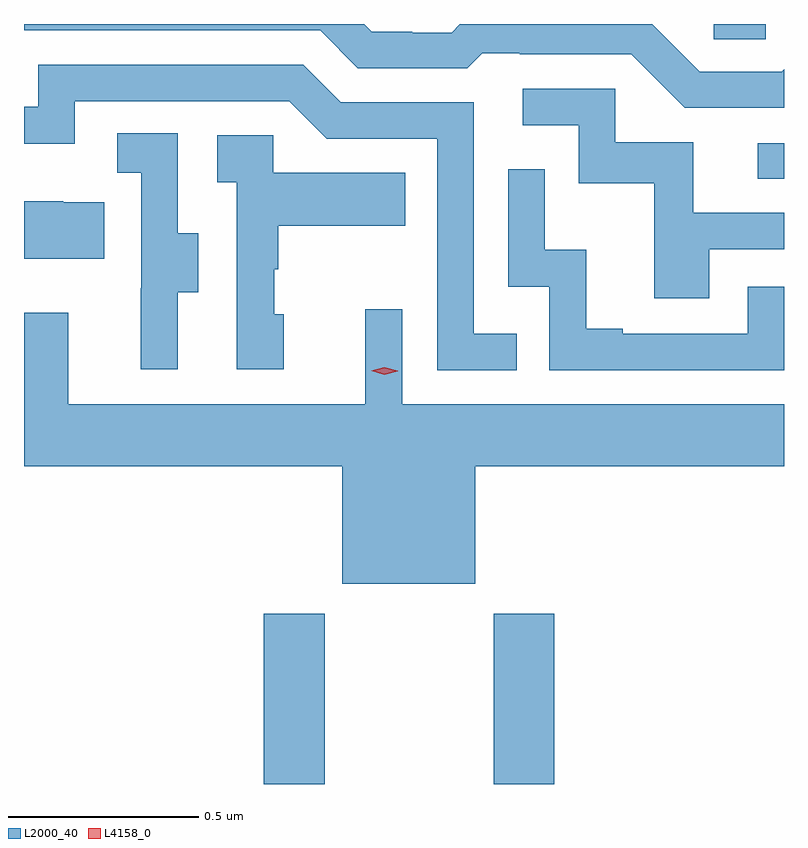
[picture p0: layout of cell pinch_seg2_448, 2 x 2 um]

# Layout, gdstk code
import gdstk
lib = gdstk.Library(unit=1e-6, precision=1e-09)
def R(c, l, rs):  # rectangles x0, y0, x1, y1
    for r in rs: c.add(gdstk.rectangle(r[:2], r[2:], *l))
def P(c, l, *ps):  # polygons
    for p in ps: c.add(gdstk.Polygon(p, *l))
L2000_40 = (2000, 40)
L4158_0 = (4158, 0)

pinch_seg2_448 = lib.new_cell('pinch_seg2_448')
R(pinch_seg2_448, L2000_40, [(909.077,613.5,909.237,613.948), (909.682,613.5,909.842,613.948), (910.377,615.093,910.446,615.186), (910.261,615.46,910.398,615.5)])
P(pinch_seg2_448, L2000_40, [(910.446,615.381),(910.44,615.375),(910.224,615.375),(910.099,615.5),(909.593,615.5),(909.571,615.477),(909.468,615.477),(909.468,615.48),(909.361,615.48),(909.341,615.5),(908.446,615.5),(908.446,615.483),(909.225,615.483),(909.324,615.384),(909.613,615.384),(909.652,615.423),(909.751,615.423),(909.751,615.42),(910.044,615.42),(910.185,615.279),(910.446,615.279)],
  [(909.743,614.685),(909.63,614.685),(909.63,615.294),(909.28,615.294),(909.181,615.393),(908.484,615.393),(908.484,615.282),(908.446,615.282),(908.446,615.185),(908.58,615.185),(908.58,615.297),(909.144,615.297),(909.243,615.198),(909.534,615.198),(909.534,614.589),(909.743,614.589)],
  [(910.249,614.907),(910.446,614.907),(910.446,615.003),(910.207,615.003),(910.207,615.189),(910.002,615.189),(910.002,615.33),(909.759,615.33),(909.759,615.234),(909.906,615.234),(909.906,615.081),(910.105,615.081),(910.105,614.778),(910.249,614.778)],
  [(908.851,614.794),(908.905,614.794),(908.905,614.949),(908.85,614.949),(908.85,615.212),(908.691,615.212),(908.691,615.109),(908.754,615.109),(908.754,614.805),(908.753,614.805),(908.753,614.592),(908.851,614.592)],
  [(909.13,614.736),(909.105,614.736),(909.105,614.855),(909.115,614.855),(909.115,614.969),(909.449,614.969),(909.449,615.109),(909.102,615.109),(909.102,615.207),(908.955,615.207),(908.955,615.083),(909.006,615.083),(909.006,614.592),(909.13,614.592)],
  [(910.446,614.808),(910.35,614.808),(910.35,614.685),(910.021,614.685),(910.021,614.698),(909.926,614.698),(909.926,614.906),(909.816,614.906),(909.816,615.118),(909.72,615.118),(909.72,614.808),(909.828,614.808),(909.828,614.589),(910.446,614.589)],
  [(908.657,615.031),(908.549,615.031),(908.549,615.034),(908.446,615.034),(908.446,614.882),(908.657,614.882)],
  [(909.634,614.336),(910.446,614.336),(910.446,614.5),(909.441,614.5),(909.441,614.749),(909.344,614.749),(909.344,614.5),(908.563,614.5),(908.563,614.74),(908.446,614.74),(908.446,614.336),(909.284,614.336),(909.284,614.027),(909.634,614.027)])
P(pinch_seg2_448, L4158_0, [(909.394,614.577),(909.36,614.587),(909.359,614.587),(909.36,614.587),(909.394,614.597),(909.429,614.587),(909.429,614.586),(909.429,614.586)])

lib.write_gds('pinch_seg2_448.gds')
